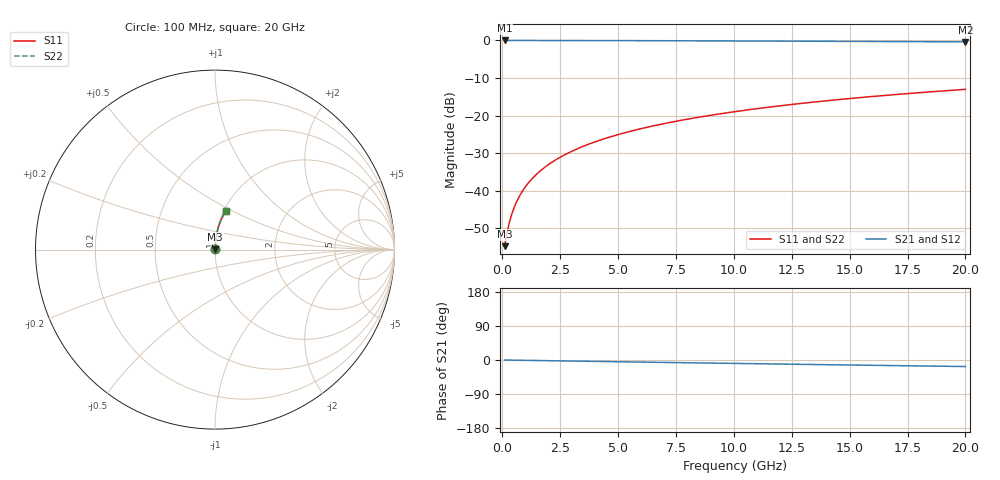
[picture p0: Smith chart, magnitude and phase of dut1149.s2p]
! Touchstone file exported from HFSS 2024.1.0
!  File:  C:/UserFiles/LocalFiles/RDL_TSV_Batchsim/temp_RDL_top_1149_1780048096.aedt
!  Generated:  05:50:37 PM May 29, 2026
!  Design:  RDL_top
!  Project:  temp_RDL_top_1149_1780048096
!  Setup:  Setup1
!  Solution:  Sweep
! Variables:
!  dtsv = 10.80580581um
!  hbump = 3um
!  htsv = 82.51um
!  ldown = 100um
!  lrdl = 187.78um
!  p = 40
!  p1 = 47.69um
!  rhole = 1um
!  t = 450um
!  tdown = 3.915915916um
!  trdl = 4.13um
!  wdown = 15.38538539um
!  wrdl = 12.38um
# GHz S MA R 50.000000
! Terminal data exported
! Port[1] = Box2_T1
! Port[2] = Box2_T2
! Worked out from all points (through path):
!   200 points, 100 MHz to 20 GHz, reference 50 ohm
!   highest |S21| = -0.01 dB at 100 MHz (marker M1); lowest = -0.4 dB at 20 GHz (marker M2)
!   group delay of S21, straight-line fit = 2.39 ps
!   lowest |S11| = -54.7 dB at 100 MHz (marker M3), VSWR 1.00, Z = 50.1 + j0.116 ohm
!   |S11| at or under -10 dB: start of sweep to end of sweep
!   |S22| runs from -54.7 to -13.0 dB; largest |S21 - S12| = 3e-15
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0.1  0.001838 38.9  0.9986 -0.1  0.9986 -0.1  0.001838 38.9
! Gamma 0 0 0 0
! Port Impedance 50 0 50 0
0.2  0.002722 57.7  0.9985 -0.2  0.9985 -0.2  0.002722 57.7
0.3  0.003742 66.5  0.9985 -0.3  0.9985 -0.3  0.003742 66.5
0.4  0.004802 71.5  0.9985 -0.4  0.9985 -0.4  0.004802 71.5
0.5  0.005878 74.6  0.9984 -0.5  0.9984 -0.5  0.005878 74.6
0.6  0.006962 76.8  0.9984 -0.6  0.9984 -0.6  0.006962 76.8
0.8  0.009145 79.6  0.9983 -0.8  0.9983 -0.8  0.009145 79.6
1.1  0.01244 81.9  0.9982 -1.0  0.9982 -1.0  0.01244 81.9
1.5  0.01686 83.6  0.9979 -1.4  0.9979 -1.4  0.01686 83.6
1.8  0.02019 84.3  0.9977 -1.7  0.9977 -1.7  0.02019 84.3
2.1  0.02353 84.7  0.9975 -2.0  0.9975 -2.0  0.02353 84.7
2.7  0.03021 85.2  0.9969 -2.5  0.9969 -2.5  0.03021 85.2
3.5  0.03914 85.3  0.996 -3.3  0.996 -3.3  0.03914 85.3
4.2  0.04698 85.3  0.995 -3.9  0.995 -3.9  0.04698 85.3
5  0.05595 85.0  0.9938 -4.6  0.9938 -4.6  0.05595 85.0
5.9  0.06608 84.7  0.9922 -5.5  0.9922 -5.5  0.06607 84.7
6.8  0.07623 84.2  0.9905 -6.3  0.9905 -6.3  0.07623 84.2
8.3  0.0932 83.3  0.9874 -7.6  0.9874 -7.6  0.0932 83.3
10.1  0.1136 82.1  0.9834 -9.1  0.9834 -9.1  0.1136 82.1
13.4  0.1509 79.7  0.9754 -11.9  0.9754 -11.9  0.1509 79.7
16.7  0.1876 77.1  0.9666 -14.6  0.9666 -14.6  0.1876 77.1
20  0.2234 74.4  0.9571 -17.3  0.9571 -17.3  0.2234 74.4
